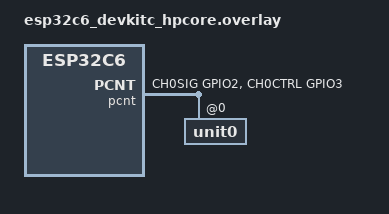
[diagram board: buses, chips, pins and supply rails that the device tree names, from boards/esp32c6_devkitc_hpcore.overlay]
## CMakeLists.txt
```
# SPDX-License-Identifier: Apache-2.0

cmake_minimum_required(VERSION 3.28.0)
find_package(Zephyr REQUIRED HINTS $ENV{ZEPHYR_BASE})
project(qdec_sensor)

FILE(GLOB app_sources src/*.c)
target_sources(app PRIVATE ${app_sources})
```

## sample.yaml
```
sample:
  description: Usage quadrature decoder sensor
  name: qdec_sensor
common:
  tags: sensors
  timeout: 5
  harness: console

tests:
  sample.sensor.qdec_sensor:
    platform_type:
      - mcu
    filter: dt_alias_exists("qdec0")
    harness_config:
      type: multi_line
      ordered: true
      regex:
        - "Quadrature decoder sensor test"
        - "Position = (.*) degrees"

  sample.sensor.sam_qdec_sensor:
    platform_allow:
      - sam_e70_xplained/same70q21
      - sam_e70_xplained/same70q21b
    harness_config:
      type: multi_line
      ordered: true
      regex:
        - "Quadrature decoder sensor test"
        - "Position = (.*) degrees"

  sample.sensor.nrf_qdec_sensor:
    platform_allow:
      - nrf52840dk/nrf52840
      - nrf5340dk/nrf5340/cpuapp
      - nrf54h20dk/nrf54h20/cpuapp
      - nrf54l15dk/nrf54l15/cpuapp
      - nrf54lm20dk/nrf54lm20a/cpuapp
      - nrf54lm20dk/nrf54lm20b/cpuapp
      - nrf7120dk/nrf7120/cpuapp
      - ophelia4ev/nrf54l15/cpuapp
    integration_platforms:
      - nrf52840dk/nrf52840
      - nrf5340dk/nrf5340/cpuapp
      - nrf54h20dk/nrf54h20/cpuapp
      - nrf54l15dk/nrf54l15/cpuapp
      - nrf54lm20dk/nrf54lm20a/cpuapp
      - nrf7120dk/nrf7120/cpuapp
      - ophelia4ev/nrf54l15/cpuapp
    harness_config:
      fixture: gpio_loopback
      type: multi_line
      ordered: true
      regex:
        - "Quadrature decoder sensor test"
        - "Position = -[45678]\\d degrees"
```

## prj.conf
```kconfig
CONFIG_SENSOR=y
CONFIG_PRINTK=y
CONFIG_GPIO=y
```

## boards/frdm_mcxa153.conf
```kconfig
# SPDX-FileCopyrightText: 2026 NXP
# SPDX-License-Identifier: Apache-2.0

# Enable EQDC overflow-trigger support so the qdec sample exercises the
# SENSOR_TRIG_OVERFLOW path on the revolution channel.
CONFIG_EQDC_MCUX_TRIGGER=y
```

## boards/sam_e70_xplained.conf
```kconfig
CONFIG_QDEC_SAM=y
```

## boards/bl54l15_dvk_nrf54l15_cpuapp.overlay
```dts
/*
 * Copyright 2024 Nordic Semiconductor ASA
 * Copyright 2025 Ezurio LLC
 * SPDX-License-Identifier: Apache-2.0
 */

/ {
	aliases {
		qdec0 = &qdec20;
		qenca = &phase_a;
		qencb = &phase_b;
	};

	encoder-emulate {
		compatible = "gpio-leds";

		phase_a: phase_a {
			gpios = <&gpio1 9 GPIO_ACTIVE_HIGH>;
		};

		phase_b: phase_b {
			gpios = <&gpio1 11 GPIO_ACTIVE_HIGH>;
		};
	};
};

&pinctrl {
	qdec_pinctrl: qdec_pinctrl {
		group1 {
			psels = <NRF_PSEL(QDEC_A, 1, 8)>,
				<NRF_PSEL(QDEC_B, 1, 10)>;
		};
	};
};

&gpio1 {
	status = "okay";
};

&qdec20 {
	status = "okay";
	pinctrl-0 = <&qdec_pinctrl>;
	pinctrl-names = "default";
	steps = <120>;
	led-pre = <500>;
};
```

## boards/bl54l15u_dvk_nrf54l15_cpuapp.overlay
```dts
/*
 * Copyright 2024 Nordic Semiconductor ASA
 * Copyright 2025 Ezurio LLC
 * SPDX-License-Identifier: Apache-2.0
 */

/ {
	aliases {
		qdec0 = &qdec20;
		qenca = &phase_a;
		qencb = &phase_b;
	};

	encoder-emulate {
		compatible = "gpio-leds";

		phase_a: phase_a {
			gpios = <&gpio1 9 GPIO_ACTIVE_HIGH>;
		};

		phase_b: phase_b {
			gpios = <&gpio1 11 GPIO_ACTIVE_HIGH>;
		};
	};
};

&pinctrl {
	qdec_pinctrl: qdec_pinctrl {
		group1 {
			psels = <NRF_PSEL(QDEC_A, 1, 8)>,
				<NRF_PSEL(QDEC_B, 1, 10)>;
		};
	};
};

&gpio1 {
	status = "okay";
};

&qdec20 {
	pinctrl-0 = <&qdec_pinctrl>;
	pinctrl-names = "default";
	steps = <120>;
	led-pre = <500>;
	status = "okay";
};
```

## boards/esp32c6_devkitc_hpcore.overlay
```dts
/*
 * SPDX-License-Identifier: Apache-2.0
 *
 * Copyright (c) 2025 Espressif Systems (Shanghai) Co., Ltd.
 */

/ {
	aliases {
		qdec0 = &pcnt;
	};
};

&pinctrl {
	pcnt_default: pcnt_default {
		group1 {
			pinmux = <PCNT0_CH0SIG_GPIO2>,
				 <PCNT0_CH0CTRL_GPIO3>;
			bias-pull-up;
		};
	};
};

&pcnt {
	pinctrl-0 = <&pcnt_default>;
	pinctrl-names = "default";
	#address-cells = <1>;
	#size-cells = <0>;
	status = "okay";

	unit0@0 {
		reg = <0>;
		#address-cells = <1>;
		#size-cells = <0>;
		filter = <100>;

		channelA@0 {
			reg = <0>;
			sig-pos-mode = <2>;
			sig-neg-mode = <1>;
			ctrl-h-mode = <0>;
			ctrl-l-mode = <1>;
		};
	};
};
```

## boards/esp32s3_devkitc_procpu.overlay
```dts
/*
 * SPDX-License-Identifier: Apache-2.0
 *
 * Copyright (c) 2023 Espressif Systems (Shanghai) Co., Ltd.
 */

/ {
	aliases {
		qdec0 = &pcnt;
	};
};

&pinctrl {
	pcnt_default: pcnt_default {
		group1 {
			pinmux = <PCNT0_CH0SIG_GPIO35>,
				 <PCNT0_CH0CTRL_GPIO36>;
			bias-pull-up;
		};
	};
};

&pcnt {
	pinctrl-0 = <&pcnt_default>;
	pinctrl-names = "default";
	#address-cells = <1>;
	#size-cells = <0>;
	status = "okay";

	unit0@0 {
		reg = <0>;
		#address-cells = <1>;
		#size-cells = <0>;
		filter = <100>;

		channelA@0 {
			reg = <0>;
			sig-pos-mode = <2>;
			sig-neg-mode = <1>;
			ctrl-h-mode = <0>;
			ctrl-l-mode = <1>;
		};
	};
};
```

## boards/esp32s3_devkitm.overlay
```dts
/*
 * SPDX-License-Identifier: Apache-2.0
 *
 * Copyright (c) 2023 Espressif Systems (Shanghai) Co., Ltd.
 */

#include <dt-bindings/pinctrl/esp32s3-pinctrl.h>

/ {
	aliases {
		qdec0 = &pcnt;
	};
};

&pinctrl {
	pcnt_default: pcnt_default {
		group1 {
			pinmux = <PCNT0_CH0SIG_GPIO35>,
				<PCNT0_CH0CTRL_GPIO36>;
			bias-pull-up;
		};
	};
};

&pcnt {
	pinctrl-0 = <&pcnt_default>;
	pinctrl-names = "default";
	status = "okay";
	#address-cells = <1>;
	#size-cells = <0>;
	unit0@0 {
		reg = <0>;
		#address-cells = <1>;
		#size-cells = <0>;
		filter = <100>;
		channelA@0 {
			reg = <0>;
			sig-pos-mode = <2>;
			sig-neg-mode = <1>;
			ctrl-h-mode = <0>;
			ctrl-l-mode = <1>;
		};
	};
};
```

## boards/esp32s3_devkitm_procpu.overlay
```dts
/*
 * SPDX-License-Identifier: Apache-2.0
 *
 * Copyright (c) 2023 Espressif Systems (Shanghai) Co., Ltd.
 */

/ {
	aliases {
		qdec0 = &pcnt;
	};
};

&pinctrl {
	pcnt_default: pcnt_default {
		group1 {
			pinmux = <PCNT0_CH0SIG_GPIO35>,
				 <PCNT0_CH0CTRL_GPIO36>;
			bias-pull-up;
		};
	};
};

&pcnt {
	pinctrl-0 = <&pcnt_default>;
	pinctrl-names = "default";
	status = "okay";
	#address-cells = <1>;
	#size-cells = <0>;
	unit0@0 {
		reg = <0>;
		#address-cells = <1>;
		#size-cells = <0>;
		filter = <100>;
		channelA@0 {
			reg = <0>;
			sig-pos-mode = <2>;
			sig-neg-mode = <1>;
			ctrl-h-mode = <0>;
			ctrl-l-mode = <1>;
		};
	};
};
```

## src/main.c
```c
/*
 * Copyright (c) 2022 Valerio Setti <valerio.setti@gmail.com>
 *
 * SPDX-License-Identifier: Apache-2.0
 */

#include <zephyr/kernel.h>
#include <zephyr/device.h>
#include <zephyr/drivers/sensor.h>
#include <zephyr/sys/printk.h>

#define QUAD_ENC_EMUL_ENABLED \
	DT_NODE_EXISTS(DT_ALIAS(qenca)) && DT_NODE_EXISTS(DT_ALIAS(qencb))

#if QUAD_ENC_EMUL_ENABLED

#include <zephyr/drivers/gpio.h>

#define QUAD_ENC_EMUL_PERIOD 100

static const struct gpio_dt_spec phase_a =
			GPIO_DT_SPEC_GET(DT_ALIAS(qenca), gpios);
static const struct gpio_dt_spec phase_b =
			GPIO_DT_SPEC_GET(DT_ALIAS(qencb), gpios);
static bool toggle_a;

void qenc_emulate_work_handler(struct k_work *work)
{
	toggle_a = !toggle_a;
	if (toggle_a) {
		gpio_pin_toggle_dt(&phase_a);
	} else {
		gpio_pin_toggle_dt(&phase_b);
	}
}

static K_WORK_DEFINE(qenc_emulate_work, qenc_emulate_work_handler);

static void qenc_emulate_timer_handler(struct k_timer *dummy)
{
	k_work_submit(&qenc_emulate_work);
}

static K_TIMER_DEFINE(qenc_emulate_timer, qenc_emulate_timer_handler, NULL);

static void qenc_emulate_init(void)
{
	printk("Quadrature encoder emulator enabled with %u ms period\n",
		QUAD_ENC_EMUL_PERIOD);

	if (!gpio_is_ready_dt(&phase_a)) {
		printk("%s: device not ready.", phase_a.port->name);
		return;
	}
	gpio_pin_configure_dt(&phase_a, GPIO_OUTPUT);

	if (!gpio_is_ready_dt(&phase_b)) {
		printk("%s: device not ready.", phase_b.port->name);
		return;
	}
	gpio_pin_configure_dt(&phase_b, GPIO_OUTPUT);

	k_timer_start(&qenc_emulate_timer, K_MSEC(QUAD_ENC_EMUL_PERIOD / 2),
			K_MSEC(QUAD_ENC_EMUL_PERIOD / 2));
}

#else

static void qenc_emulate_init(void) { };

#endif /* QUAD_ENC_EMUL_ENABLED */

#ifdef CONFIG_EQDC_MCUX_TRIGGER

#include <zephyr/sys/atomic.h>

/* Incremented from the trigger handler (system workqueue context). */
static atomic_t trigger_count;

static void revolution_trigger_handler(const struct device *dev,
				       const struct sensor_trigger *trig)
{
	ARG_UNUSED(dev);
	ARG_UNUSED(trig);

	atomic_inc(&trigger_count);
}

/*
 * Register SENSOR_TRIG_OVERFLOW on the revolution channel. With
 * revolution-count-mode = modulus, the EQDC revolution counter rolls
 * over/under without an INDEX signal, firing this trigger as the emulated
 * encoder drives the position counter past a full revolution.
 */
static void qdec_trigger_init(const struct device *dev)
{
	struct sensor_trigger trig = {
		.type = SENSOR_TRIG_OVERFLOW,
		.chan = SENSOR_CHAN_ENCODER_REVOLUTIONS,
	};
	int rc = sensor_trigger_set(dev, &trig, revolution_trigger_handler);

	if (rc != 0) {
		printk("Failed to set SENSOR_TRIG_OVERFLOW (%d)\n", rc);
		return;
	}
	printk("Registered SENSOR_TRIG_OVERFLOW on SENSOR_CHAN_ENCODER_REVOLUTIONS\n");
}

#else

static void qdec_trigger_init(const struct device *dev)
{
	ARG_UNUSED(dev);
};

#endif /* CONFIG_EQDC_MCUX_TRIGGER */

int main(void)
{
	struct sensor_value val;
	int rc;
	const struct device *const dev = DEVICE_DT_GET(DT_ALIAS(qdec0));

	if (!device_is_ready(dev)) {
		printk("Qdec device is not ready\n");
		return 0;
	}

	printk("Quadrature decoder sensor test\n");

	qenc_emulate_init();

	qdec_trigger_init(dev);

#ifndef CONFIG_COVERAGE
	while (true) {
#else
	for (int i = 0; i < 3; i++) {
#endif
		/* sleep first to gather position from first period */
		k_msleep(1000);

		rc = sensor_sample_fetch(dev);
		if (rc != 0) {
			printk("Failed to fetch sample (%d)\n", rc);
			return 0;
		}

		rc = sensor_channel_get(dev, SENSOR_CHAN_ROTATION, &val);
		if (rc != 0) {
			printk("Failed to get data (%d)\n", rc);
			return 0;
		}

		printk("Position = %d degrees\n", val.val1);

		/* Get speed (optional)*/
		rc = sensor_channel_get(dev, SENSOR_CHAN_RPM, &val);
		if (rc == 0) {
			printk("Speed = %d RPM\n", val.val1);
		}

		/* Get revolutions (optional)*/
		rc = sensor_channel_get(dev, SENSOR_CHAN_ENCODER_REVOLUTIONS, &val);
		if (rc == 0) {
			printk("Revolutions = %d\n", val.val1);
		}

#ifdef CONFIG_EQDC_MCUX_TRIGGER
		/*
		 * "triggers" is how many times the SENSOR_TRIG_OVERFLOW handler
		 * ran. If the trigger path works it tracks the revolution
		 * roll-over events; if it stays 0 while revolutions change, the
		 * IRQ never reaches the handler.
		 */
		printk("Triggers = %ld\n", (long)atomic_get(&trigger_count));
#endif
	}
	return 0;
}
```
